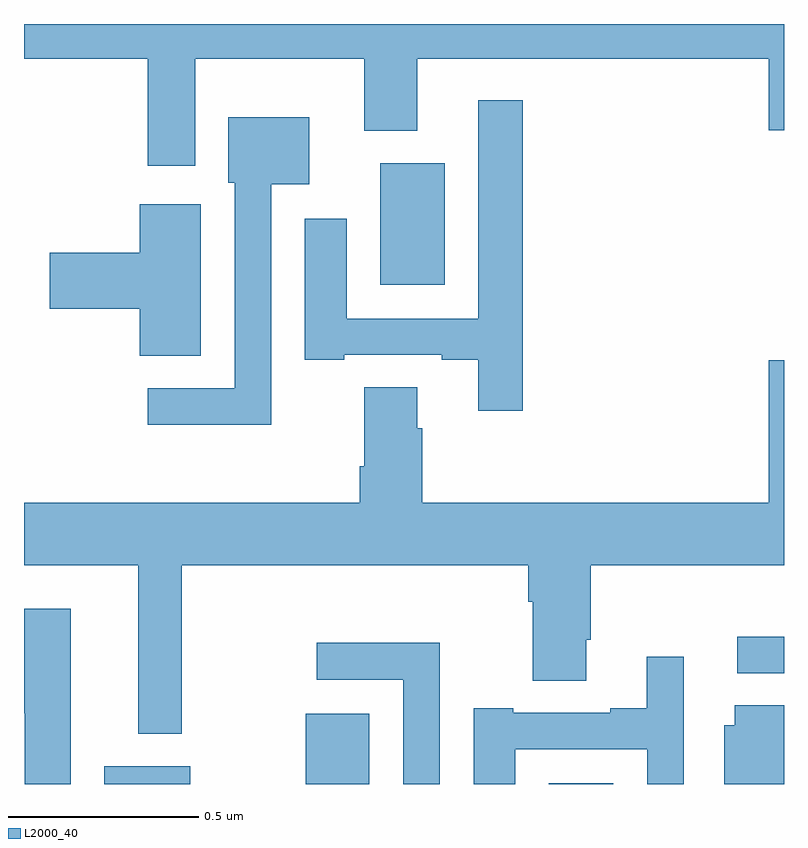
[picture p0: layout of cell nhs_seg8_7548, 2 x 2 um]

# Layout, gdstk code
import gdstk
lib = gdstk.Library(unit=1e-6, precision=1e-09)
def R(c, l, rs):  # rectangles x0, y0, x1, y1
    for r in rs: c.add(gdstk.rectangle(r[:2], r[2:], *l))
def P(c, l, *ps):  # polygons
    for p in ps: c.add(gdstk.Polygon(p, *l))
L2000_40 = (2000, 40)

nhs_seg8_7548 = lib.new_cell('nhs_seg8_7548')
R(nhs_seg8_7548, L2000_40, [(211.211,1139.9,211.438,1139.947), (211.742,1139.9,211.909,1140.085), (212.381,1139.9,212.551,1139.902), (212.877,1140.192,213,1140.288), (211.937,1141.214,212.107,1141.534)])
P(nhs_seg8_7548, L2000_40, [(211.45,1141.808),(211.895,1141.808),(211.895,1141.619),(212.035,1141.619),(212.035,1141.808),(212.96,1141.808),(212.96,1141.62),(213,1141.62),(213,1141.9),(211,1141.9),(211,1141.808),(211.325,1141.808),(211.325,1141.527),(211.45,1141.527)],
  [(212.312,1141.699),(212.196,1141.699),(212.196,1141.125),(211.849,1141.125),(211.849,1141.387),(211.739,1141.387),(211.739,1141.017),(211.843,1141.017),(211.843,1141.029),(212.099,1141.029),(212.099,1141.017),(212.195,1141.017),(212.195,1140.882),(212.312,1140.882)],
  [(211.65,1141.478),(211.75,1141.478),(211.75,1141.654),(211.538,1141.654),(211.538,1141.482),(211.554,1141.482),(211.554,1140.942),(211.326,1140.942),(211.326,1140.845),(211.65,1140.845)],
  [(211.465,1141.426),(211.304,1141.426),(211.304,1141.298),(211.068,1141.298),(211.068,1141.151),(211.304,1141.151),(211.304,1141.027),(211.465,1141.027)],
  [(212.048,1140.836),(212.035,1140.836),(212.035,1140.944),(211.895,1140.944),(211.895,1140.736),(211.883,1140.736),(211.883,1140.64),(211,1140.64),(211,1140.476),(211.301,1140.476),(211.301,1140.032),(211.415,1140.032),(211.415,1140.476),(212.327,1140.476),(212.327,1140.38),(212.339,1140.38),(212.339,1140.172),(212.479,1140.172),(212.479,1140.28),(212.492,1140.28),(212.492,1140.476),(213,1140.476),(213,1141.015),(212.96,1141.015),(212.96,1140.64),(212.048,1140.64)],
  [(211.123,1140.361),(211,1140.361),(211,1140.086),(211.002,1140.086),(211.002,1139.9),(211.123,1139.9)],
  [(212.094,1140.272),(211.77,1140.272),(211.77,1140.174),(211.998,1140.174),(211.998,1139.9),(212.094,1139.9)],
  [(212.293,1139.991),(212.64,1139.991),(212.64,1139.9),(212.736,1139.9),(212.736,1140.235),(212.639,1140.235),(212.639,1140.1),(212.543,1140.1),(212.543,1140.087),(212.287,1140.087),(212.287,1140.1),(212.183,1140.1),(212.183,1139.9),(212.293,1139.9)],
  [(213,1140.107),(212.87,1140.107),(212.87,1140.054),(212.843,1140.054),(212.843,1139.9),(213,1139.9)])

lib.write_gds('nhs_seg8_7548.gds')
